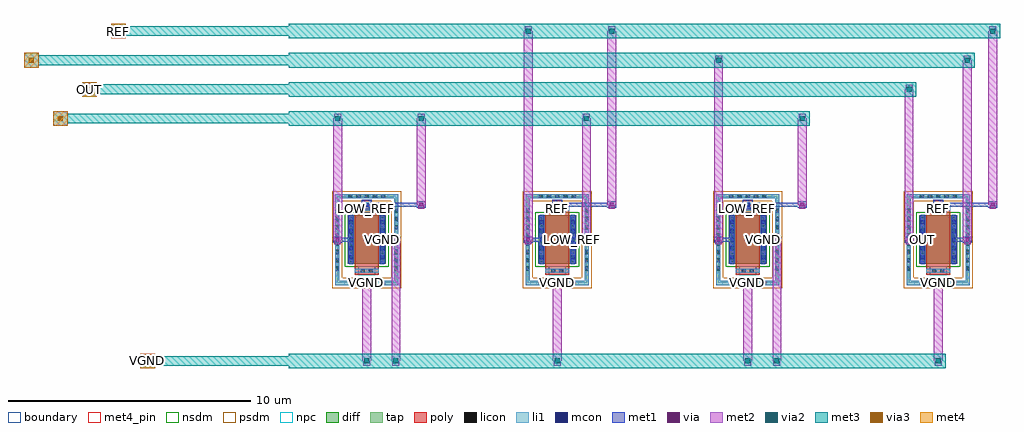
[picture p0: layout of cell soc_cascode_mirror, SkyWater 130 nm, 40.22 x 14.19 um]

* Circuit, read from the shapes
.subckt soc_cascode_mirror LOW_OUT LOW_REF OUT REF VGND
XM1 VGND LOW_REF LOW_REF VGND sky130_fd_pr__nfet_01v8 w=2 l=1
XM2 LOW_REF REF REF VGND sky130_fd_pr__nfet_01v8 w=2 l=1
XM3 VGND LOW_REF LOW_OUT VGND sky130_fd_pr__nfet_01v8 w=2 l=1
XM4 LOW_OUT REF OUT VGND sky130_fd_pr__nfet_01v8 w=2 l=1
.ends

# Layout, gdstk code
import gdstk
lib = gdstk.Library(unit=1e-6, precision=1e-09)
def R(c, l, rs):  # rectangles x0, y0, x1, y1
    for r in rs: c.add(gdstk.rectangle(r[:2], r[2:], *l))
def A(c, l, x, y, w, h, nx, ny, dx, dy):  # array of equal rectangles
    R(c, l, [(x+i*dx, y+j*dy, x+i*dx+w, y+j*dy+h) for i in range(nx) for j in range(ny)])
def P(c, l, *ps):  # polygons
    for p in ps: c.add(gdstk.Polygon(p, *l))
diff = (65, 20)
tap = (65, 44)
poly = (66, 20)
licon = (66, 44)
li1 = (67, 20)
mcon = (67, 44)
met1 = (68, 20)
via = (68, 44)
met2 = (69, 20)
via2 = (69, 44)
met3 = (70, 20)
via3 = (70, 44)
met4_pin = (71, 16)
met4 = (71, 20)
nsdm = (93, 44)
psdm = (94, 20)
npc = (95, 20)
boundary = (235, 4)

soc_cascode_mirror = lib.new_cell('soc_cascode_mirror')
A(soc_cascode_mirror, diff, 23.635, 14.295, 1.58, 2, 4, 1, 7.85, 0)
A(soc_cascode_mirror, tap, 23.125, 13.425, 2.6, 0.17, 4, 2, 7.85, 3.57)
R(soc_cascode_mirror, tap, [(23.125,13.595,23.295,16.995), (25.555,13.595,25.725,16.995), (30.975,13.595,31.145,16.995), (33.405,13.595,33.575,16.995), (38.825,13.595,38.995,16.995), (41.255,13.595,41.425,16.995), (46.675,13.595,46.845,16.995), (49.105,13.595,49.275,16.995)])
A(soc_cascode_mirror, poly, 23.925, 13.855, 1, 2.88, 4, 1, 7.85, 0)
A(soc_cascode_mirror, licon, 23.66, 13.425, 0.17, 0.17, 5, 2, 0.34, 3.57)
A(soc_cascode_mirror, licon, 31.51, 13.425, 0.17, 0.17, 5, 2, 0.34, 3.57)
A(soc_cascode_mirror, licon, 39.36, 13.425, 0.17, 0.17, 5, 2, 0.34, 3.57)
A(soc_cascode_mirror, licon, 47.21, 13.425, 0.17, 0.17, 5, 2, 0.34, 3.57)
A(soc_cascode_mirror, licon, 23.125, 14.02, 0.17, 0.17, 1, 8, 0, 0.34)
A(soc_cascode_mirror, licon, 25.555, 14.02, 0.17, 0.17, 1, 8, 0, 0.34)
A(soc_cascode_mirror, licon, 30.975, 14.02, 0.17, 0.17, 1, 8, 0, 0.34)
A(soc_cascode_mirror, licon, 33.405, 14.02, 0.17, 0.17, 1, 8, 0, 0.34)
A(soc_cascode_mirror, licon, 38.825, 14.02, 0.17, 0.17, 1, 8, 0, 0.34)
A(soc_cascode_mirror, licon, 41.255, 14.02, 0.17, 0.17, 1, 8, 0, 0.34)
A(soc_cascode_mirror, licon, 46.675, 14.02, 0.17, 0.17, 1, 8, 0, 0.34)
A(soc_cascode_mirror, licon, 49.105, 14.02, 0.17, 0.17, 1, 8, 0, 0.34)
A(soc_cascode_mirror, licon, 23.695, 14.36, 0.17, 0.17, 1, 6, 0, 0.34)
A(soc_cascode_mirror, licon, 24.985, 14.36, 0.17, 0.17, 1, 6, 0, 0.34)
A(soc_cascode_mirror, licon, 31.545, 14.36, 0.17, 0.17, 1, 6, 0, 0.34)
A(soc_cascode_mirror, licon, 32.835, 14.36, 0.17, 0.17, 1, 6, 0, 0.34)
A(soc_cascode_mirror, licon, 39.395, 14.36, 0.17, 0.17, 1, 6, 0, 0.34)
A(soc_cascode_mirror, licon, 40.685, 14.36, 0.17, 0.17, 1, 6, 0, 0.34)
A(soc_cascode_mirror, licon, 47.245, 14.36, 0.17, 0.17, 1, 6, 0, 0.34)
A(soc_cascode_mirror, licon, 48.535, 14.36, 0.17, 0.17, 1, 6, 0, 0.34)
R(soc_cascode_mirror, licon, [(24.17,13.935,24.34,14.105), (24.51,13.935,24.68,14.105), (32.02,13.935,32.19,14.105), (32.36,13.935,32.53,14.105), (39.87,13.935,40.04,14.105), (40.21,13.935,40.38,14.105), (47.72,13.935,47.89,14.105), (48.06,13.935,48.23,14.105), (24.17,16.485,24.34,16.655), (24.51,16.485,24.68,16.655), (32.02,16.485,32.19,16.655), (32.36,16.485,32.53,16.655), (39.87,16.485,40.04,16.655), (40.21,16.485,40.38,16.655), (47.72,16.485,47.89,16.655), (48.06,16.485,48.23,16.655)])
A(soc_cascode_mirror, li1, 23.125, 13.425, 2.6, 0.17, 4, 2, 7.85, 3.57)
A(soc_cascode_mirror, li1, 23.925, 13.935, 1, 0.17, 4, 2, 7.85, 2.55)
A(soc_cascode_mirror, li1, 24.34, 16.485, 0.17, 0.34, 4, 1, 7.85, 0)
R(soc_cascode_mirror, li1, [(23.125,13.595,23.295,16.995), (25.555,13.595,25.725,16.995), (30.975,13.595,31.145,16.995), (33.405,13.595,33.575,16.995), (38.825,13.595,38.995,16.995), (41.255,13.595,41.425,16.995), (46.675,13.595,46.845,16.995), (49.105,13.595,49.275,16.995), (23.695,14.275,23.865,16.315), (24.985,14.275,25.155,16.315), (31.545,14.275,31.715,16.315), (32.835,14.275,33.005,16.315), (39.395,14.275,39.565,16.315), (40.685,14.275,40.855,16.315), (47.245,14.275,47.415,16.315), (48.535,14.275,48.705,16.315)])
A(soc_cascode_mirror, mcon, 24.34, 13.425, 0.17, 0.17, 4, 2, 7.85, 3.23)
A(soc_cascode_mirror, mcon, 23.695, 14.49, 0.17, 0.17, 1, 5, 0, 0.36)
A(soc_cascode_mirror, mcon, 24.985, 14.49, 0.17, 0.17, 1, 5, 0, 0.36)
A(soc_cascode_mirror, mcon, 31.545, 14.49, 0.17, 0.17, 1, 5, 0, 0.36)
A(soc_cascode_mirror, mcon, 32.835, 14.49, 0.17, 0.17, 1, 5, 0, 0.36)
A(soc_cascode_mirror, mcon, 39.395, 14.49, 0.17, 0.17, 1, 5, 0, 0.36)
A(soc_cascode_mirror, mcon, 40.685, 14.49, 0.17, 0.17, 1, 5, 0, 0.36)
A(soc_cascode_mirror, mcon, 47.245, 14.49, 0.17, 0.17, 1, 5, 0, 0.36)
A(soc_cascode_mirror, mcon, 48.535, 14.49, 0.17, 0.17, 1, 5, 0, 0.36)
A(soc_cascode_mirror, met1, 24.225, 13.31, 0.4, 0.4, 4, 2, 7.85, 3.23)
A(soc_cascode_mirror, met1, 24.245, 13.38, 0.36, 0.26, 4, 1, 7.85, 0)
A(soc_cascode_mirror, met1, 26.49, 16.61, 0.36, 0.26, 4, 1, 7.85, 0)
A(soc_cascode_mirror, met1, 24.425, 16.655, 2.245, 0.17, 4, 1, 7.85, 0)
R(soc_cascode_mirror, met1, [(23.665,14.295,23.895,16.295), (24.955,14.295,25.185,16.295), (31.515,14.295,31.745,16.295), (32.805,14.295,33.035,16.295), (39.365,14.295,39.595,16.295), (40.655,14.295,40.885,16.295), (47.215,14.295,47.445,16.295), (48.505,14.295,48.735,16.295), (23.045,15.165,23.405,15.425), (25.445,15.165,25.805,15.425), (30.895,15.165,31.255,15.425), (33.295,15.165,33.655,15.425), (38.745,15.165,39.105,15.425), (41.145,15.165,41.505,15.425), (46.595,15.165,46.955,15.425), (48.995,15.165,49.355,15.425), (23.225,15.21,23.78,15.38), (25.07,15.21,25.625,15.38), (31.075,15.21,31.63,15.38), (32.92,15.21,33.475,15.38), (38.925,15.21,39.48,15.38), (40.77,15.21,41.325,15.38), (46.775,15.21,47.33,15.38), (48.62,15.21,49.175,15.38)])
P(soc_cascode_mirror, met1, [(47.975,13.425),(47.975,13.595),(47.975,13.595),(47.975,13.425)],
  [(40.125,13.425),(40.125,13.595),(40.125,13.595),(40.125,13.425)],
  [(32.275,13.425),(32.275,13.595),(32.275,13.595),(32.275,13.425)],
  [(24.425,13.425),(24.425,13.595),(24.425,13.595),(24.425,13.425)])
A(soc_cascode_mirror, via, 24.35, 13.435, 0.15, 0.15, 4, 1, 7.85, 0)
A(soc_cascode_mirror, via, 26.595, 16.665, 0.15, 0.15, 4, 1, 7.85, 0)
R(soc_cascode_mirror, via, [(23.15,15.22,23.3,15.37), (25.55,15.22,25.7,15.37), (31,15.22,31.15,15.37), (33.4,15.22,33.55,15.37), (38.85,15.22,39,15.37), (41.25,15.22,41.4,15.37), (46.7,15.22,46.85,15.37), (49.1,15.22,49.25,15.37)])
A(soc_cascode_mirror, met2, 24.245, 10.3, 0.36, 3.21, 4, 1, 7.85, 0)
A(soc_cascode_mirror, met2, 24.295, 13.33, 0.26, 0.36, 4, 1, 7.85, 0)
A(soc_cascode_mirror, met2, 26.54, 16.56, 0.26, 0.36, 4, 1, 7.85, 0)
R(soc_cascode_mirror, met2, [(24.285,10.11,24.565,10.49), (25.485,10.11,25.765,10.49), (32.135,10.11,32.415,10.49), (39.985,10.11,40.265,10.49), (41.185,10.11,41.465,10.49), (47.835,10.11,48.115,10.49), (25.445,10.3,25.805,15.295), (41.145,10.3,41.505,15.295), (23.095,15.115,23.355,15.475), (25.495,15.115,25.755,15.475), (30.945,15.115,31.205,15.475), (33.345,15.115,33.605,15.475), (38.795,15.115,39.055,15.475), (41.195,15.115,41.455,15.475), (46.645,15.115,46.905,15.475), (49.045,15.115,49.305,15.475), (23.045,15.295,23.405,20.29), (30.895,15.295,31.255,23.89), (33.295,15.295,33.655,20.29), (38.745,15.295,39.105,22.69), (46.595,15.295,46.955,21.49), (48.995,15.295,49.355,22.69), (26.49,16.74,26.85,20.29), (34.34,16.74,34.7,23.89), (42.19,16.74,42.55,20.29), (50.04,16.74,50.4,23.89), (23.085,20.1,23.365,20.48), (26.53,20.1,26.81,20.48), (33.335,20.1,33.615,20.48), (42.23,20.1,42.51,20.48), (46.635,21.3,46.915,21.68), (38.785,22.5,39.065,22.88), (49.035,22.5,49.315,22.88), (30.935,23.7,31.215,24.08), (34.38,23.7,34.66,24.08), (50.08,23.7,50.36,24.08)])
R(soc_cascode_mirror, via2, [(24.325,10.2,24.525,10.4), (25.525,10.2,25.725,10.4), (32.175,10.2,32.375,10.4), (40.025,10.2,40.225,10.4), (41.225,10.2,41.425,10.4), (47.875,10.2,48.075,10.4), (23.125,20.19,23.325,20.39), (26.57,20.19,26.77,20.39), (33.375,20.19,33.575,20.39), (42.27,20.19,42.47,20.39), (46.675,21.39,46.875,21.59), (38.825,22.59,39.025,22.79), (49.075,22.59,49.275,22.79), (30.975,23.79,31.175,23.99), (34.42,23.79,34.62,23.99), (50.12,23.79,50.32,23.99)])
R(soc_cascode_mirror, met3, [(15.1,10,15.7,10.6), (21.2,10,48.275,10.6), (24.175,10.05,24.675,10.55), (25.375,10.05,25.875,10.55), (32.025,10.05,32.525,10.55), (39.875,10.05,40.375,10.55), (41.075,10.05,41.575,10.55), (47.725,10.05,48.225,10.55), (11.5,19.99,12.1,20.59), (21.2,19.99,42.67,20.59), (22.975,20.04,23.475,20.54), (26.42,20.04,26.92,20.54), (33.225,20.04,33.725,20.54), (42.12,20.04,42.62,20.54), (12.7,21.19,13.3,21.79), (21.2,21.19,47.075,21.79), (46.525,21.24,47.025,21.74), (10.3,22.39,10.9,22.99), (21.2,22.39,49.475,22.99), (38.675,22.44,39.175,22.94), (48.925,22.44,49.425,22.94), (13.9,23.59,14.5,24.19), (21.2,23.59,50.52,24.19), (30.825,23.64,31.325,24.14), (34.27,23.64,34.77,24.14), (49.97,23.64,50.47,24.14)])
R(soc_cascode_mirror, via3, [(15.3,10.2,15.5,10.4), (11.7,20.19,11.9,20.39), (12.9,21.39,13.1,21.59), (10.5,22.59,10.7,22.79), (14.1,23.79,14.3,23.99)])
R(soc_cascode_mirror, met4_pin, [(15.15,10.05,15.65,10.55), (12.75,21.24,13.25,21.74), (13.95,23.64,14.45,24.14)])
R(soc_cascode_mirror, met4, [(15.1,10,15.7,10.6), (15.15,10,15.65,10.6), (11.5,19.99,12.1,20.59), (11.55,19.99,12.05,20.59), (12.7,21.19,13.3,21.79), (12.75,21.19,13.25,21.79), (10.3,22.39,10.9,22.99), (10.35,22.39,10.85,22.99), (13.9,23.59,14.5,24.19), (13.95,23.59,14.45,24.19)])
A(soc_cascode_mirror, nsdm, 23.51, 14.17, 1.83, 2.25, 4, 1, 7.85, 0)
A(soc_cascode_mirror, psdm, 23, 13.3, 2.85, 0.42, 4, 2, 7.85, 3.57)
R(soc_cascode_mirror, psdm, [(23,13.72,23.42,16.87), (25.43,13.72,25.85,16.87), (30.85,13.72,31.27,16.87), (33.28,13.72,33.7,16.87), (38.7,13.72,39.12,16.87), (41.13,13.72,41.55,16.87), (46.55,13.72,46.97,16.87), (48.98,13.72,49.4,16.87)])
A(soc_cascode_mirror, npc, 24.07, 13.835, 0.71, 0.37, 4, 2, 7.85, 2.55)
A(soc_cascode_mirror, boundary, 23.21, 13.51, 2.43, 3.57, 4, 1, 7.85, 0)
soc_cascode_mirror.add(gdstk.FlexPath([(10.6,22.69),(21.2,22.69)], 0.4, ends="flush", simple_path=True, layer=70, datatype=20))  # met3
soc_cascode_mirror.add(gdstk.FlexPath([(15.4,10.3),(21.2,10.3)], 0.4, ends="flush", simple_path=True, layer=70, datatype=20))  # met3
soc_cascode_mirror.add(gdstk.FlexPath([(11.8,20.29),(21.2,20.29)], 0.4, ends="flush", simple_path=True, layer=70, datatype=20))  # met3
soc_cascode_mirror.add(gdstk.FlexPath([(13,21.49),(21.2,21.49)], 0.4, ends="flush", simple_path=True, layer=70, datatype=20))  # met3
soc_cascode_mirror.add(gdstk.FlexPath([(14.2,23.89),(21.2,23.89)], 0.4, ends="flush", simple_path=True, layer=70, datatype=20))  # met3
soc_cascode_mirror.add(gdstk.Label('VGND', (47.975,13.51), layer=67, texttype=5))
soc_cascode_mirror.add(gdstk.Label('LOW_REF', (40.125,16.57), layer=67, texttype=5))
soc_cascode_mirror.add(gdstk.Label('LOW_REF', (24.425,16.57), layer=67, texttype=5))
soc_cascode_mirror.add(gdstk.Label('REF', (47.975,16.57), layer=67, texttype=5))
soc_cascode_mirror.add(gdstk.Label('LOW_REF', (32.92,15.295), layer=67, texttype=5))
soc_cascode_mirror.add(gdstk.Label('VGND', (25.07,15.295), layer=67, texttype=5))
soc_cascode_mirror.add(gdstk.Label('OUT', (47.33,15.295), layer=67, texttype=5))
soc_cascode_mirror.add(gdstk.Label('REF', (32.275,16.57), layer=67, texttype=5))
soc_cascode_mirror.add(gdstk.Label('VGND', (40.77,15.295), layer=67, texttype=5))
soc_cascode_mirror.add(gdstk.Label('LOW_OUT', (48.62,15.295), layer=67, texttype=5))
soc_cascode_mirror.add(gdstk.Label('VGND', (24.425,13.51), layer=67, texttype=5))
soc_cascode_mirror.add(gdstk.Label('VGND', (32.275,13.51), layer=67, texttype=5))
soc_cascode_mirror.add(gdstk.Label('REF', (31.63,15.295), layer=67, texttype=5))
soc_cascode_mirror.add(gdstk.Label('VGND', (40.125,13.51), layer=67, texttype=5))
soc_cascode_mirror.add(gdstk.Label('LOW_REF', (23.78,15.295), layer=67, texttype=5))
soc_cascode_mirror.add(gdstk.Label('LOW_OUT', (39.48,15.295), layer=67, texttype=5))
soc_cascode_mirror.add(gdstk.Label('OUT', (13,21.49), layer=71, texttype=5))
soc_cascode_mirror.add(gdstk.Label('REF', (14.2,23.89), layer=71, texttype=5))
soc_cascode_mirror.add(gdstk.Label('VGND', (15.4,10.3), layer=71, texttype=5))

lib.write_gds('soc_cascode_mirror.gds')
